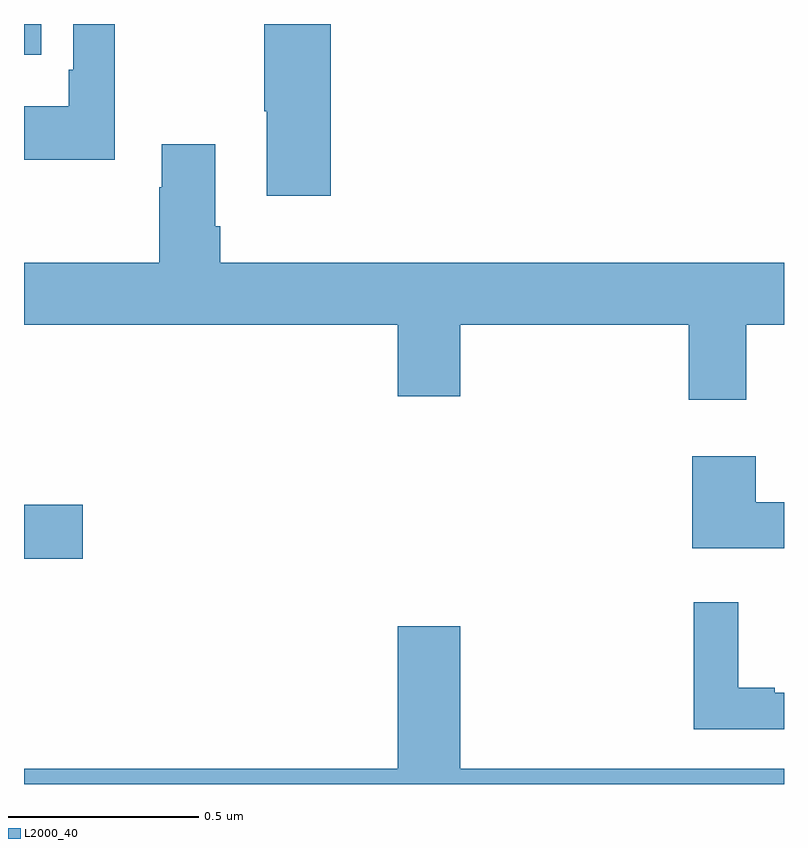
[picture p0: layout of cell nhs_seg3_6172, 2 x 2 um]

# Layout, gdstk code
import gdstk
lib = gdstk.Library(unit=1e-6, precision=1e-09)
def R(c, l, rs):  # rectangles x0, y0, x1, y1
    for r in rs: c.add(gdstk.rectangle(r[:2], r[2:], *l))
def P(c, l, *ps):  # polygons
    for p in ps: c.add(gdstk.Polygon(p, *l))
L2000_40 = (2000, 40)

nhs_seg3_6172 = lib.new_cell('nhs_seg3_6172')
R(nhs_seg3_6172, L2000_40, [(188,674.993,188.155,675.135), (188,676.319,188.045,676.4)])
P(nhs_seg3_6172, L2000_40, [(188.807,676.4),(188.632,676.4),(188.632,676.171),(188.639,676.171),(188.639,675.948),(188.807,675.948)],
  [(188.239,676.4),(188.13,676.4),(188.13,676.279),(188.118,676.279),(188.118,676.183),(188,676.183),(188,676.043),(188.239,676.043)],
  [(189.901,675.608),(190,675.608),(190,675.772),(188.516,675.772),(188.516,675.868),(188.503,675.868),(188.503,676.084),(188.363,676.084),(188.363,675.971),(188.356,675.971),(188.356,675.772),(188,675.772),(188,675.608),(188.984,675.608),(188.984,675.42),(189.148,675.42),(189.148,675.608),(189.749,675.608),(189.749,675.411),(189.901,675.411)],
  [(190,675.142),(189.925,675.142),(189.925,675.262),(189.758,675.262),(189.758,675.02),(190,675.02)],
  [(190,674.64),(189.976,674.64),(189.976,674.653),(189.88,674.653),(189.88,674.878),(189.763,674.878),(189.763,674.544),(190,674.544)],
  [(190,674.44),(189.148,674.44),(189.148,674.815),(188.984,674.815),(188.984,674.44),(188,674.44),(188,674.4),(190,674.4)])

lib.write_gds('nhs_seg3_6172.gds')
